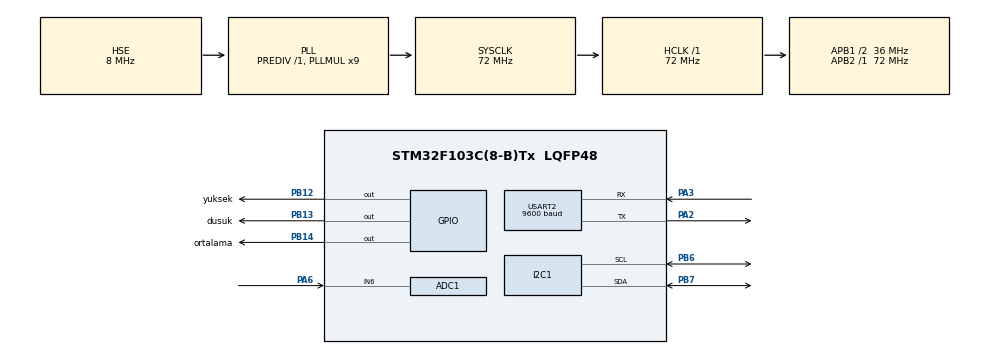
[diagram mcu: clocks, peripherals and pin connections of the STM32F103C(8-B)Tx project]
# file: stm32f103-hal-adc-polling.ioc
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ADC1.Channel-4\#ChannelRegularConversion=ADC_CHANNEL_6
ADC1.NbrOfConversionFlag=1
ADC1.Rank-4\#ChannelRegularConversion=1
ADC1.SamplingTime-4\#ChannelRegularConversion=ADC_SAMPLETIME_1CYCLE_5
ADC1.master=1
I2C1.I2C_Mode=I2C_Fast
Mcu.Family=STM32F1
Mcu.Name=STM32F103C(8-B)Tx
Mcu.Package=LQFP48
NVIC.PriorityGroup=NVIC_PRIORITYGROUP_4
PA13.Mode=Serial_Wire
PA13.Signal=SYS_JTMS-SWDIO
PA14.Mode=Serial_Wire
PA14.Signal=SYS_JTCK-SWCLK
PA2.Mode=Asynchronous
PA2.Signal=USART2_TX
PA3.Mode=Asynchronous
PA3.Signal=USART2_RX
PA6.Signal=ADCx_IN6
PB12.GPIO_Label=yuksek
PB12.GPIO_PuPd=GPIO_NOPULL
PB12.Signal=GPIO_Output
PB13.GPIO_Label=dusuk
PB13.GPIO_PuPd=GPIO_NOPULL
PB13.Signal=GPIO_Output
PB14.GPIO_Label=ortalama
PB14.Signal=GPIO_Output
PB6.Mode=I2C
PB6.Signal=I2C1_SCL
PB7.Mode=I2C
PB7.Signal=I2C1_SDA
PD0-OSC_IN.Mode=HSE-External-Oscillator
PD0-OSC_IN.Signal=RCC_OSC_IN
PD1-OSC_OUT.Mode=HSE-External-Oscillator
PD1-OSC_OUT.Signal=RCC_OSC_OUT
ProjectManager.HeapSize=0x200
ProjectManager.StackSize=0x400
ProjectManager.TargetToolchain=MDK-ARM V5
RCC.ADCPresc=RCC_ADCPCLK2_DIV6
RCC.AHBFreq_Value=72000000
RCC.APB1CLKDivider=RCC_HCLK_DIV2
RCC.APB1Freq_Value=36000000
RCC.APB1TimFreq_Value=72000000
RCC.APB2Freq_Value=72000000
RCC.APB2TimFreq_Value=72000000
RCC.HCLKFreq_Value=72000000
RCC.PLLMUL=RCC_PLL_MUL9
RCC.PLLSourceVirtual=RCC_PLLSOURCE_HSE
RCC.SYSCLKFreq_VALUE=72000000
RCC.SYSCLKSource=RCC_SYSCLKSOURCE_PLLCLK
RCC.USBFreq_Value=72000000
SH.ADCx_IN6.0=ADC1_IN6,IN6
USART2.BaudRate=9600
USART2.VirtualMode=VM_ASYNC
board=stm32f103-hal-adc-polling

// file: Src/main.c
/* USER CODE BEGIN Header */
/**
  **************************
  * @file           : main.c
  * @brief          : Main program body
  **************************
  * @attention
  *
  * <h2><center>&copy; Copyright (c) 2019 STMicroelectronics.
  * All rights reserved.</center></h2>
  *
  * This software component is licensed by ST under BSD 3-Clause license,
  * the "License"; You may not use this file except in compliance with the
  * License. You may obtain a copy of the License at:
  *                        opensource.org/licenses/BSD-3-Clause
  *
  **************************
  */
/* USER CODE END Header */

#include "main.h"

/* USER CODE BEGIN Includes */
#include "ssd1306.h"
#include "i2c-lcd.h"
#include "string.h"
#include "main.h"
#include "fonts.h"
#include <stdbool.h>
/* USER CODE END Includes */

ADC_HandleTypeDef hadc1;

I2C_HandleTypeDef hi2c1;

UART_HandleTypeDef huart2;

/* USER CODE BEGIN PV */
/* Private variables ---------------------------------------------------------*/
float adcValue;
char strBuffer[32];
char strBuffer1[32];
char rx_buffer[50], tx_buffer[50];
/* USER CODE END PV */

void SystemClock_Config(void);
static void MX_GPIO_Init(void);
static void MX_ADC1_Init(void);
static void MX_USART2_UART_Init(void);
static void MX_I2C1_Init(void);
/* USER CODE BEGIN PFP */
/* Private function prototypes -----------------------------------------------*/
uint16_t ADC_Read(void);
/* USER CODE END PFP */

/* USER CODE BEGIN 0 */
uint8_t check;
  uint8_t string[10] = "START\r\n";
	uint8_t received[20] = {0};
	uint8_t *bufferPtr;
char USARTBUFFER[16];
float se=0;
float ort=0;
/* USER CODE END 0 */

int main(void)
{

  /* MCU Configuration--------------------------------------------------------*/

  /* Reset of all peripherals, Initializes the Flash interface and the Systick. */
  HAL_Init();

  /* Configure the system clock */
  SystemClock_Config();

  /* Initialize all configured peripherals */
  MX_GPIO_Init();
  MX_ADC1_Init();
  MX_USART2_UART_Init();
  MX_I2C1_Init();
  /* USER CODE BEGIN 2 */
	lcd_init ();
	check = SSD1306_Init ();
	SSD1306_Fill (0);
	SSD1306_UpdateScreen(); //display

	HAL_GPIO_WritePin(GPIOB,yuksek_Pin, GPIO_PIN_RESET);
		HAL_GPIO_WritePin(GPIOB,dusuk_Pin, GPIO_PIN_RESET);
  /* USER CODE END 2 */

  /* Infinite loop */
  while (1)
  {

    /* USER CODE BEGIN 3 */
		adcValue = ADC_Read();
	float adcn=(adcValue*(195.0/4095.0));
		for(int i=0;i<10;i++){
		ort+=adcn;
			HAL_Delay(80);
		}
		se=ort/10;
		ort=0;

		sprintf(strBuffer, "%.2fC         ", se);
		SSD1306_Fill(0);
		SSD1306_GotoXY (1,24);
		SSD1306_Puts (strBuffer, &Font_16x26, 1);
		SSD1306_UpdateScreen();

		if(se>29)
		{
		HAL_GPIO_WritePin(GPIOB,yuksek_Pin, GPIO_PIN_SET); /*pb12*/
		}
		else {HAL_GPIO_WritePin(GPIOB,yuksek_Pin, GPIO_PIN_RESET);}

		if(se<15){
			HAL_GPIO_WritePin(GPIOB,dusuk_Pin, GPIO_PIN_SET); /*pb13*/
		}
		else {HAL_GPIO_WritePin(GPIOB,dusuk_Pin, GPIO_PIN_RESET);}

		sprintf(strBuffer1, "%f\n", se);
			HAL_UART_Transmit(&huart2, (uint8_t *)strBuffer1, sprintf(strBuffer1, "%.2f C\n", se), 500);

		HAL_Delay(100);

		if(se>15&&se<30){
			HAL_GPIO_WritePin(GPIOB,ortalama_Pin, GPIO_PIN_SET);
		HAL_Delay(100);
		  HAL_GPIO_WritePin(GPIOB,ortalama_Pin, GPIO_PIN_RESET);
  }
  /* USER CODE END 3 */
}
}
void SystemClock_Config(void)
{
  RCC_OscInitTypeDef RCC_OscInitStruct = {0};
  RCC_ClkInitTypeDef RCC_ClkInitStruct = {0};
  RCC_PeriphCLKInitTypeDef PeriphClkInit = {0};

  /** Initializes the CPU, AHB and APB busses clocks
  */
  RCC_OscInitStruct.OscillatorType = RCC_OSCILLATORTYPE_HSE;
  RCC_OscInitStruct.HSEState = RCC_HSE_ON;
  RCC_OscInitStruct.HSEPredivValue = RCC_HSE_PREDIV_DIV1;
  RCC_OscInitStruct.HSIState = RCC_HSI_ON;
  RCC_OscInitStruct.PLL.PLLState = RCC_PLL_ON;
  RCC_OscInitStruct.PLL.PLLSource = RCC_PLLSOURCE_HSE;
  RCC_OscInitStruct.PLL.PLLMUL = RCC_PLL_MUL9;
  if (HAL_RCC_OscConfig(&RCC_OscInitStruct) != HAL_OK)
  {
    Error_Handler();
  }
  /** Initializes the CPU, AHB and APB busses clocks
  */
  RCC_ClkInitStruct.ClockType = RCC_CLOCKTYPE_HCLK|RCC_CLOCKTYPE_SYSCLK
                              |RCC_CLOCKTYPE_PCLK1|RCC_CLOCKTYPE_PCLK2;
  RCC_ClkInitStruct.SYSCLKSource = RCC_SYSCLKSOURCE_PLLCLK;
  RCC_ClkInitStruct.AHBCLKDivider = RCC_SYSCLK_DIV1;
  RCC_ClkInitStruct.APB1CLKDivider = RCC_HCLK_DIV2;
  RCC_ClkInitStruct.APB2CLKDivider = RCC_HCLK_DIV1;

  if (HAL_RCC_ClockConfig(&RCC_ClkInitStruct, FLASH_LATENCY_2) != HAL_OK)
  {
    Error_Handler();
  }
  PeriphClkInit.PeriphClockSelection = RCC_PERIPHCLK_ADC;
  PeriphClkInit.AdcClockSelection = RCC_ADCPCLK2_DIV6;
  if (HAL_RCCEx_PeriphCLKConfig(&PeriphClkInit) != HAL_OK)
  {
    Error_Handler();
  }
}

static void MX_ADC1_Init(void)
{

  ADC_ChannelConfTypeDef sConfig = {0};

  /** Common config
  */
  hadc1.Instance = ADC1;
  hadc1.Init.ScanConvMode = ADC_SCAN_DISABLE;
  hadc1.Init.ContinuousConvMode = DISABLE;
  hadc1.Init.DiscontinuousConvMode = DISABLE;
  hadc1.Init.ExternalTrigConv = ADC_SOFTWARE_START;
  hadc1.Init.DataAlign = ADC_DATAALIGN_RIGHT;
  hadc1.Init.NbrOfConversion = 1;
  if (HAL_ADC_Init(&hadc1) != HAL_OK)
  {
    Error_Handler();
  }
  /** Configure Regular Channel
  */
  sConfig.Channel = ADC_CHANNEL_6;
  sConfig.Rank = ADC_REGULAR_RANK_1;
  sConfig.SamplingTime = ADC_SAMPLETIME_1CYCLE_5;
  if (HAL_ADC_ConfigChannel(&hadc1, &sConfig) != HAL_OK)
  {
    Error_Handler();
  }

}

static void MX_I2C1_Init(void)
{

  hi2c1.Instance = I2C1;
  hi2c1.Init.ClockSpeed = 400000;
  hi2c1.Init.DutyCycle = I2C_DUTYCYCLE_2;
  hi2c1.Init.OwnAddress1 = 0;
  hi2c1.Init.AddressingMode = I2C_ADDRESSINGMODE_7BIT;
  hi2c1.Init.DualAddressMode = I2C_DUALADDRESS_DISABLE;
  hi2c1.Init.OwnAddress2 = 0;
  hi2c1.Init.GeneralCallMode = I2C_GENERALCALL_DISABLE;
  hi2c1.Init.NoStretchMode = I2C_NOSTRETCH_DISABLE;
  if (HAL_I2C_Init(&hi2c1) != HAL_OK)
  {
    Error_Handler();
  }

}

static void MX_USART2_UART_Init(void)
{

  huart2.Instance = USART2;
  huart2.Init.BaudRate = 9600;
  huart2.Init.WordLength = UART_WORDLENGTH_8B;
  huart2.Init.StopBits = UART_STOPBITS_1;
  huart2.Init.Parity = UART_PARITY_NONE;
  huart2.Init.Mode = UART_MODE_TX_RX;
  huart2.Init.HwFlowCtl = UART_HWCONTROL_NONE;
  huart2.Init.OverSampling = UART_OVERSAMPLING_16;
  if (HAL_UART_Init(&huart2) != HAL_OK)
  {
    Error_Handler();
  }

}

static void MX_GPIO_Init(void)
{
  GPIO_InitTypeDef GPIO_InitStruct = {0};

  /* GPIO Ports Clock Enable */
  __HAL_RCC_GPIOC_CLK_ENABLE();
  __HAL_RCC_GPIOD_CLK_ENABLE();
  __HAL_RCC_GPIOA_CLK_ENABLE();
  __HAL_RCC_GPIOB_CLK_ENABLE();

  /*Configure GPIO pin Output Level */
  HAL_GPIO_WritePin(GPIOB, yuksek_Pin|dusuk_Pin|ortalama_Pin, GPIO_PIN_RESET);

  /*Configure GPIO pins : PC13 PC14 PC15 */
  GPIO_InitStruct.Pin = GPIO_PIN_13|GPIO_PIN_14|GPIO_PIN_15;
  GPIO_InitStruct.Mode = GPIO_MODE_ANALOG;
  HAL_GPIO_Init(GPIOC, &GPIO_InitStruct);

  /*Configure GPIO pins : PA0 PA1 PA4 PA5
                           PA7 PA8 PA9 PA10
                           PA11 PA12 PA15 */
  GPIO_InitStruct.Pin = GPIO_PIN_0|GPIO_PIN_1|GPIO_PIN_4|GPIO_PIN_5
                          |GPIO_PIN_7|GPIO_PIN_8|GPIO_PIN_9|GPIO_PIN_10
                          |GPIO_PIN_11|GPIO_PIN_12|GPIO_PIN_15;
  GPIO_InitStruct.Mode = GPIO_MODE_ANALOG;
  HAL_GPIO_Init(GPIOA, &GPIO_InitStruct);

  /*Configure GPIO pins : PB0 PB1 PB2 PB10
                           PB11 PB15 PB3 PB4
                           PB5 PB8 PB9 */
  GPIO_InitStruct.Pin = GPIO_PIN_0|GPIO_PIN_1|GPIO_PIN_2|GPIO_PIN_10
                          |GPIO_PIN_11|GPIO_PIN_15|GPIO_PIN_3|GPIO_PIN_4
                          |GPIO_PIN_5|GPIO_PIN_8|GPIO_PIN_9;
  GPIO_InitStruct.Mode = GPIO_MODE_ANALOG;
  HAL_GPIO_Init(GPIOB, &GPIO_InitStruct);

  /*Configure GPIO pins : yuksek_Pin dusuk_Pin ortalama_Pin */
  GPIO_InitStruct.Pin = yuksek_Pin|dusuk_Pin|ortalama_Pin;
  GPIO_InitStruct.Mode = GPIO_MODE_OUTPUT_PP;
  GPIO_InitStruct.Pull = GPIO_NOPULL;
  GPIO_InitStruct.Speed = GPIO_SPEED_FREQ_LOW;
  HAL_GPIO_Init(GPIOB, &GPIO_InitStruct);

}

/* USER CODE BEGIN 4 */
/**
  * @brief  Read ADC value from ADC data register.
  * @param  None
  * @retval uint32_t: adcVal
  */
uint16_t ADC_Read(void)
{
	uint16_t adcVal;

	/* Enable ADC and start ADC conversion */
	HAL_ADC_Start(&hadc1);
	/* Wait for ADC conversion to be completed */
	HAL_ADC_PollForConversion(&hadc1, 1);
	/* Get ADC value from ADC data register */
	adcVal = HAL_ADC_GetValue(&hadc1);
	/* Stop ADC conversion and disable ADC */
	HAL_ADC_Stop(&hadc1);

	return adcVal;
}
/* USER CODE END 4 */

void Error_Handler(void)
{
  /* USER CODE BEGIN Error_Handler_Debug */
  /* User can add his own implementation to report the HAL error return state */
  while(0)
  {
  }
  /* USER CODE END Error_Handler_Debug */
}

/************************ (C) COPYRIGHT STMicroelectronics *****END OF FILE****/
